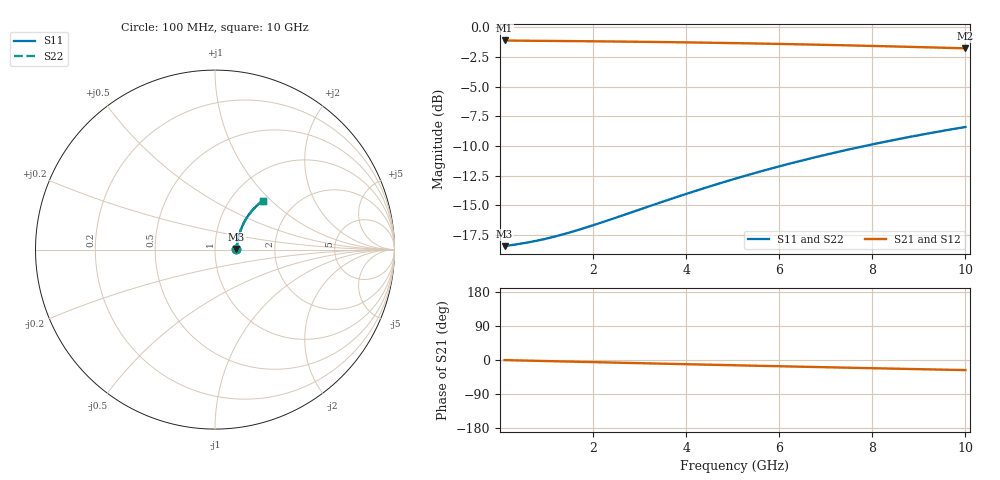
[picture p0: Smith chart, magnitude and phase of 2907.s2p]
# Hz S RI R 50.00
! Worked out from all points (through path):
!   100 points, 100 MHz to 10 GHz, reference 50 ohm
!   highest |S21| = -1.11 dB at 100 MHz (marker M1); lowest = -1.8 dB at 10 GHz (marker M2)
!   group delay of S21, straight-line fit = 7.42 ps
!   lowest |S11| = -18.4 dB at 100 MHz (marker M3), VSWR 1.27, Z = 63.6 + j0.436 ohm
!   |S11| at or under -10 dB: start of sweep to 7.841 GHz
!   |S22| runs from -18.4 to -8.4 dB; largest |S21 - S12| = 0
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1e8  0.1195 0.00338  0.8805 -0.00432  0.8805 -0.00432  0.1195 0.00338
6e8  0.1223 0.0201  0.8777 -0.0258  0.8777 -0.0258  0.1223 0.0201
9e8  0.1238 0.0301  0.8762 -0.0386  0.8762 -0.0386  0.1238 0.0301
1.1e9  0.1248 0.0368  0.8751 -0.0471  0.8751 -0.0471  0.1248 0.0368
1.3e9  0.1259 0.0434  0.874 -0.0555  0.874 -0.0555  0.1259 0.0434
1.5e9  0.1272 0.0499  0.8727 -0.064  0.8727 -0.064  0.1272 0.0499
1.8e9  0.1291 0.0597  0.8707 -0.0766  0.8707 -0.0766  0.1291 0.0597
2.3e9  0.133 0.0759  0.8667 -0.0974  0.8667 -0.0974  0.133 0.0759
3.4e9  0.1438 0.1105  0.8556 -0.1423  0.8556 -0.1423  0.1438 0.1105
3.9e9  0.1499 0.1257  0.8494 -0.1622  0.8494 -0.1622  0.1499 0.1257
4.3e9  0.1551 0.1376  0.844 -0.1779  0.844 -0.1779  0.1551 0.1376
4.7e9  0.1608 0.1492  0.8381 -0.1932  0.8381 -0.1932  0.1608 0.1492
5.1e9  0.1669 0.1605  0.8319 -0.2083  0.8319 -0.2083  0.1669 0.1605
5.5e9  0.1733 0.1715  0.8252 -0.2231  0.8252 -0.2231  0.1733 0.1715
5.9e9  0.1801 0.1822  0.8182 -0.2376  0.8182 -0.2376  0.1801 0.1822
6.3e9  0.1873 0.1926  0.8108 -0.2518  0.8108 -0.2518  0.1873 0.1926
6.7e9  0.1948 0.2027  0.8031 -0.2656  0.8031 -0.2656  0.1948 0.2027
7.5e9  0.2106 0.2217  0.7867 -0.2922  0.7867 -0.2922  0.2106 0.2217
7.9e9  0.2189 0.2307  0.7781 -0.305  0.7781 -0.305  0.2189 0.2307
8.4e9  0.2297 0.2414  0.767 -0.3204  0.767 -0.3204  0.2297 0.2414
9.2e9  0.2476 0.2572  0.7484 -0.3438  0.7484 -0.3438  0.2476 0.2572
1e10  0.2662 0.2715  0.7291 -0.3658  0.7291 -0.3658  0.2662 0.2715
